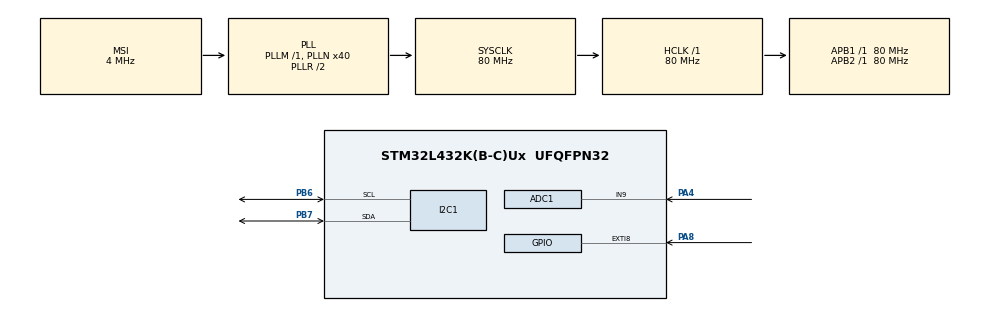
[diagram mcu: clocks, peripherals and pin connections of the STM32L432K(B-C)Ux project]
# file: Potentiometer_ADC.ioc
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ADC1.Channel-2\#ChannelRegularConversion=ADC_CHANNEL_9
ADC1.ContinuousConvMode=ENABLE
ADC1.NbrOfConversionFlag=1
ADC1.OffsetNumber-2\#ChannelRegularConversion=ADC_OFFSET_NONE
ADC1.Rank-2\#ChannelRegularConversion=1
ADC1.SamplingTime-2\#ChannelRegularConversion=ADC_SAMPLETIME_2CYCLES_5
ADC1.master=1
I2C1.Timing=0x10909CEC
Mcu.Family=STM32L4
Mcu.Name=STM32L432K(B-C)Ux
Mcu.Package=UFQFPN32
NVIC.EXTI9_5_IRQn=true\:0\:0\:false\:false\:true\:true\:true\:true
NVIC.PriorityGroup=NVIC_PRIORITYGROUP_4
PA13\ (JTMS-SWDIO).Mode=Serial_Wire
PA13\ (JTMS-SWDIO).Signal=SYS_JTMS-SWDIO
PA14\ (JTCK-SWCLK).Mode=Serial_Wire
PA14\ (JTCK-SWCLK).Signal=SYS_JTCK-SWCLK
PA4.Signal=ADCx_IN9
PA8.GPIO_ModeDefaultEXTI=GPIO_MODE_IT_RISING
PA8.Signal=GPXTI8
PB6.Mode=I2C
PB6.Signal=I2C1_SCL
PB7.Mode=I2C
PB7.Signal=I2C1_SDA
ProjectManager.HeapSize=0x200
ProjectManager.StackSize=0x400
ProjectManager.TargetToolchain=STM32CubeIDE
RCC.ADCFreq_Value=32000000
RCC.AHBFreq_Value=80000000
RCC.APB1Freq_Value=80000000
RCC.APB1TimFreq_Value=80000000
RCC.APB2Freq_Value=80000000
RCC.APB2TimFreq_Value=80000000
RCC.CortexFreq_Value=80000000
RCC.HCLKFreq_Value=80000000
RCC.HSE_VALUE=8000000
RCC.HSI48_VALUE=48000000
RCC.HSI_VALUE=16000000
RCC.LSE_VALUE=32768
RCC.MSI_VALUE=4000000
RCC.PLLN=40
RCC.PLLSAI1N=16
RCC.SYSCLKFreq_VALUE=80000000
RCC.SYSCLKSource=RCC_SYSCLKSOURCE_PLLCLK
RCC.USBFreq_Value=32000000
RCC.VCOOutputFreq_Value=160000000
SH.ADCx_IN9.0=ADC1_IN9,IN9-Single-Ended
board=custom

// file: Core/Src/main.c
/* USER CODE BEGIN Header */
/**
  ******************************************************************************
  * @file           : main.c
  * @brief          : Main program body
  ******************************************************************************
  * @attention
  *
  * Copyright (c) 2023 STMicroelectronics.
  * All rights reserved.
  *
  * This software is licensed under terms that can be found in the LICENSE file
  * in the root directory of this software component.
  * If no LICENSE file comes with this software, it is provided AS-IS.
  *
  ******************************************************************************
  */
/* USER CODE END Header */
#include "main.h"
#include "adc.h"
#include "i2c.h"
#include "gpio.h"

/* USER CODE BEGIN Includes */
#include "lcd_i2c.h"
#include <stdio.h>
#include <string.h>

/* USER CODE END Includes */

/* USER CODE BEGIN PD */
#define BUTTON_PIN GPIO_PIN_8  // PA_8
#define BUTTON_PORT GPIOA

#define POTENTIOMETER_PIN GPIO_PIN_4  // PA_4
#define POTENTIOMETER_PORT GPIOA

/* USER CODE END PD */

/* USER CODE BEGIN PV */

float potentiometerScalingShoty = 50.0 / 4096.0;
float potentiometerScalingDrinki = 150.0 / 4096.0;
uint8_t menuPosition = 0;
uint16_t prevReadValue = 0;
uint16_t selectedML = 0;
const char* arrowSymbol = ">";
const uint16_t MAX_ML = 150;
int ml = 0;

/* USER CODE END PV */

void SystemClock_Config(void);

/* USER CODE BEGIN 0 */

uint16_t readValue;
struct lcd_disp disp;

void menu()
{

	  	  HAL_ADC_Start(&hadc1);
	      HAL_ADC_PollForConversion(&hadc1, 1000);
	      uint16_t readValue = HAL_ADC_GetValue(&hadc1);
	      HAL_ADC_Stop(&hadc1);

	      if (abs(readValue - prevReadValue) > 50)
	      {
	          menuPosition = (readValue > 50) ? 1 : 0;
	          prevReadValue = readValue;
	      }

	      if (menuPosition == 0)
	      {
	          sprintf((char *)disp.f_line, "1. Shoty%s", (menuPosition == 0) ? arrowSymbol : "");
	          sprintf((char *)disp.s_line, "2. Drinki");
	          HAL_Delay(500);
	          lcd_display(&disp);

	          if (HAL_GPIO_ReadPin(BUTTON_PORT, BUTTON_PIN) == GPIO_PIN_SET)
	          {
	              HAL_Delay(100);

	              while (HAL_GPIO_ReadPin(BUTTON_PORT, BUTTON_PIN) == GPIO_PIN_SET)
	              {
	              }

	              while (1)
	              {
	                  sprintf((char *)disp.f_line, "ilosc ml: %d", selectedML);
	                  sprintf((char *)disp.s_line, "Potwierdz PA_8");
	               //   HAL_Delay(500);
	                  lcd_display(&disp);

	                  if (HAL_GPIO_ReadPin(BUTTON_PORT, BUTTON_PIN) == GPIO_PIN_SET)
	                  {
	                      HAL_Delay(100);

	                      while (HAL_GPIO_ReadPin(BUTTON_PORT, BUTTON_PIN) == GPIO_PIN_SET)
	                      {
	                      }

	                      selectedML = 0;

	                      menuPosition = 0;
	                      break;
	                  }

	                  HAL_ADC_Start(&hadc1);
	                  HAL_ADC_PollForConversion(&hadc1, 1000);
	                  readValue = HAL_ADC_GetValue(&hadc1);
	                  HAL_ADC_Stop(&hadc1);

	                  selectedML = (uint16_t)(readValue * potentiometerScalingShoty);

	                  if (selectedML > 50)
	                  {
	                      selectedML = 50;
	                  }
	              }
	          }
	      }
	      else if (menuPosition == 1)
	      {
	          sprintf((char *)disp.f_line, "1. Shoty");
	          sprintf((char *)disp.s_line, "2. Drinki%s", (menuPosition == 1) ? arrowSymbol : "");
	         // HAL_Delay(500);
	          lcd_display(&disp);

	          if (HAL_GPIO_ReadPin(BUTTON_PORT, BUTTON_PIN) == GPIO_PIN_SET)
	          {
	              HAL_Delay(100);

	              while (HAL_GPIO_ReadPin(BUTTON_PORT, BUTTON_PIN) == GPIO_PIN_SET)
	              {
	              }

	              while (1)
	              {
	                  sprintf((char *)disp.f_line, "ilosc ml: %d", selectedML);
	                  sprintf((char *)disp.s_line, "Potwierdz PA_8");
	              //    HAL_Delay(500);
	                  lcd_display(&disp);

	                  if (HAL_GPIO_ReadPin(BUTTON_PORT, BUTTON_PIN) == GPIO_PIN_SET)
	                  {
	                      HAL_Delay(100);

	                      while (HAL_GPIO_ReadPin(BUTTON_PORT, BUTTON_PIN) == GPIO_PIN_SET)
	                      {
	                      }

	                      selectedML = 0;
	                      menuPosition = 0;
	                      break;
	                  }

	                  HAL_ADC_Start(&hadc1);
	                  HAL_ADC_PollForConversion(&hadc1, 1000);
	                  readValue = HAL_ADC_GetValue(&hadc1);
	                  HAL_ADC_Stop(&hadc1);

	                  selectedML = (uint16_t)(readValue * potentiometerScalingDrinki);

	                  if (selectedML > 150)
	                  {
	                      selectedML = 150;
	                  }
	              }
	          }
	      }

}

/* USER CODE END 0 */

int main(void)
{

  /* MCU Configuration--------------------------------------------------------*/

  /* Reset of all peripherals, Initializes the Flash interface and the Systick. */
  HAL_Init();

  /* Configure the system clock */
  SystemClock_Config();

  /* Initialize all configured peripherals */
  MX_GPIO_Init();
  MX_ADC1_Init();
  MX_I2C1_Init();
  /* USER CODE BEGIN 2 */

  	  disp.addr = (0x27 << 1);
      disp.bl = true;
      lcd_init(&disp);

      HAL_ADC_Start(&hadc1);

  /* USER CODE END 2 */

  /* Infinite loop */
  /* USER CODE BEGIN WHILE */
  while (1)
  {

	  menu();

/*
	  sprintf((char *)disp.f_line, "VALUE2: %lu", readValue);
//	  sprintf((char *)disp.f_line," value = %.2f\n", readValue);
	  sprintf((char *)disp.s_line, "ml: %d",ml);
	  HAL_Delay(500);
	  lcd_display(&disp);

*/
	        // Jeśli zmiana wartości przekroczyła pewną wartość progową (np. 50), zmień pozycję w MENU

/*

	  HAL_ADC_Start(&hadc1);
	  HAL_ADC_PollForConversion(&hadc1, 300);

	  R = HAL_ADC_GetValue(&hadc1);

	  float vin = R*(3.3/4096);

	 sprintf((char *)disp.f_line," vol = %.2f\n", vin);
	 sprintf((char *)disp.s_line, "");
	 HAL_Delay(500);
	 lcd_display(&disp);
*/

/*
	 sprintf((char *)disp.f_line, "VALUE2: %lu", R);
	 	 sprintf((char *)disp.s_line, "");
	 	 HAL_Delay(500);
	 	 lcd_display(&disp);

*/

    /* USER CODE END WHILE */

  }
}

void SystemClock_Config(void)
{
  RCC_OscInitTypeDef RCC_OscInitStruct = {0};
  RCC_ClkInitTypeDef RCC_ClkInitStruct = {0};

  /** Configure the main internal regulator output voltage
  */
  if (HAL_PWREx_ControlVoltageScaling(PWR_REGULATOR_VOLTAGE_SCALE1) != HAL_OK)
  {
    Error_Handler();
  }

  /** Initializes the RCC Oscillators according to the specified parameters
  * in the RCC_OscInitTypeDef structure.
  */
  RCC_OscInitStruct.OscillatorType = RCC_OSCILLATORTYPE_MSI;
  RCC_OscInitStruct.MSIState = RCC_MSI_ON;
  RCC_OscInitStruct.MSICalibrationValue = 0;
  RCC_OscInitStruct.MSIClockRange = RCC_MSIRANGE_6;
  RCC_OscInitStruct.PLL.PLLState = RCC_PLL_ON;
  RCC_OscInitStruct.PLL.PLLSource = RCC_PLLSOURCE_MSI;
  RCC_OscInitStruct.PLL.PLLM = 1;
  RCC_OscInitStruct.PLL.PLLN = 40;
  RCC_OscInitStruct.PLL.PLLP = RCC_PLLP_DIV7;
  RCC_OscInitStruct.PLL.PLLQ = RCC_PLLQ_DIV2;
  RCC_OscInitStruct.PLL.PLLR = RCC_PLLR_DIV2;
  if (HAL_RCC_OscConfig(&RCC_OscInitStruct) != HAL_OK)
  {
    Error_Handler();
  }

  /** Initializes the CPU, AHB and APB buses clocks
  */
  RCC_ClkInitStruct.ClockType = RCC_CLOCKTYPE_HCLK|RCC_CLOCKTYPE_SYSCLK
                              |RCC_CLOCKTYPE_PCLK1|RCC_CLOCKTYPE_PCLK2;
  RCC_ClkInitStruct.SYSCLKSource = RCC_SYSCLKSOURCE_PLLCLK;
  RCC_ClkInitStruct.AHBCLKDivider = RCC_SYSCLK_DIV1;
  RCC_ClkInitStruct.APB1CLKDivider = RCC_HCLK_DIV1;
  RCC_ClkInitStruct.APB2CLKDivider = RCC_HCLK_DIV1;

  if (HAL_RCC_ClockConfig(&RCC_ClkInitStruct, FLASH_LATENCY_4) != HAL_OK)
  {
    Error_Handler();
  }
}

void Error_Handler(void)
{
  __disable_irq();
  while (1)
  {
  }
}
